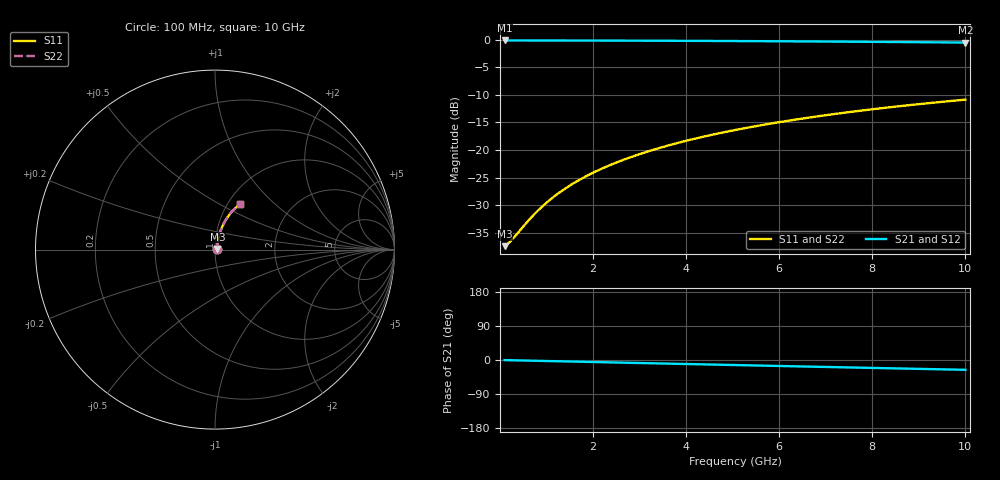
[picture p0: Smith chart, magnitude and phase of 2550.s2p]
# Hz S RI R 50.00
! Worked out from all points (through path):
!   100 points, 100 MHz to 10 GHz, reference 50 ohm
!   highest |S21| = -0.11 dB at 100 MHz (marker M1); lowest = -0.5 dB at 10 GHz (marker M2)
!   group delay of S21, straight-line fit = 7.2 ps
!   lowest |S11| = -37.5 dB at 100 MHz (marker M3), VSWR 1.03, Z = 51.3 + j0.306 ohm
!   |S11| at or under -10 dB: start of sweep to end of sweep
!   |S22| runs from -37.5 to -10.9 dB; largest |S21 - S12| = 0
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1e8  0.0131 0.00298  0.9869 -0.00458  0.9869 -0.00458  0.0131 0.00298
2e8  0.0132 0.00596  0.9868 -0.00915  0.9868 -0.00915  0.0132 0.00596
3e8  0.0133 0.00894  0.9867 -0.0137  0.9867 -0.0137  0.0133 0.00894
6e8  0.0138 0.0179  0.9861 -0.0274  0.9861 -0.0274  0.0138 0.0179
7e8  0.014 0.0208  0.9859 -0.032  0.9859 -0.032  0.014 0.0208
8e8  0.0143 0.0238  0.9856 -0.0366  0.9856 -0.0366  0.0143 0.0238
1e9  0.0148 0.0297  0.985 -0.0457  0.985 -0.0457  0.0148 0.0297
1.2e9  0.0155 0.0357  0.9843 -0.0548  0.9843 -0.0548  0.0155 0.0357
1.4e9  0.0162 0.0416  0.9835 -0.0639  0.9835 -0.0639  0.0162 0.0416
1.6e9  0.0171 0.0474  0.9825 -0.073  0.9825 -0.073  0.0171 0.0474
1.8e9  0.0181 0.0533  0.9815 -0.082  0.9815 -0.082  0.0181 0.0533
2.1e9  0.0197 0.0621  0.9797 -0.0956  0.9797 -0.0956  0.0197 0.0621
2.5e9  0.0223 0.0736  0.9769 -0.1135  0.9769 -0.1135  0.0223 0.0736
2.9e9  0.0253 0.0851  0.9736 -0.1314  0.9736 -0.1314  0.0253 0.0851
3.4e9  0.0296 0.0992  0.9689 -0.1535  0.9689 -0.1535  0.0296 0.0992
4.2e9  0.0378 0.1213  0.9599 -0.1884  0.9599 -0.1884  0.0378 0.1213
5.1e9  0.0489 0.1452  0.9477 -0.2267  0.9477 -0.2267  0.0489 0.1452
5.9e9  0.0602 0.1654  0.9352 -0.2598  0.9352 -0.2598  0.0602 0.1654
6.7e9  0.0729 0.1847  0.9212 -0.2919  0.9212 -0.2919  0.0729 0.1847
7.5e9  0.0868 0.2028  0.9058 -0.323  0.9058 -0.323  0.0868 0.2028
8.4e9  0.1038 0.2218  0.8869 -0.3565  0.8869 -0.3565  0.1038 0.2218
1e10  0.137 0.2516  0.8498 -0.4122  0.8498 -0.4122  0.137 0.2516
